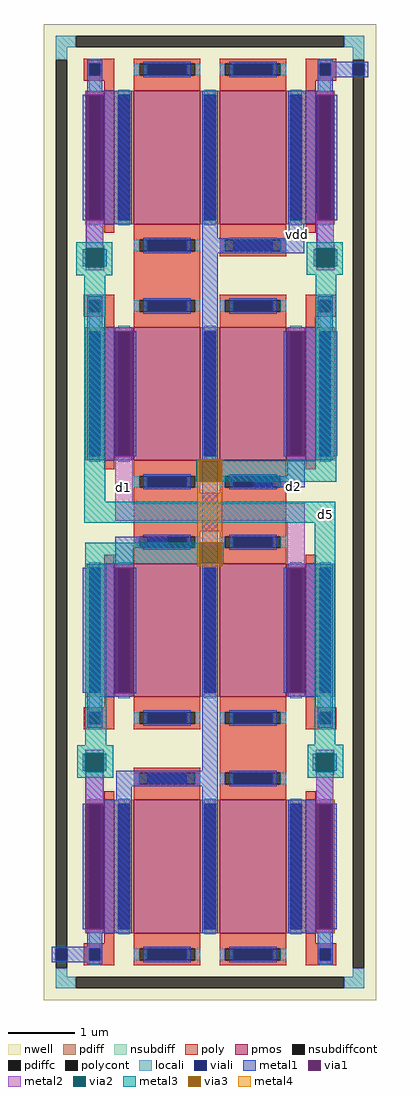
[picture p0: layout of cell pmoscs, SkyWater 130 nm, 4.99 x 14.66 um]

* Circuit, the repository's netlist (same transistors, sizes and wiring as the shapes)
** sch_path: /home/muhammadyavi/project/opamp/mag/pmoscs.sch
.subckt pmoscs VDD D2 D1 D5
*.PININFO VDD:B D5:B D2:B D1:B
XM2 D2 D2 VDD VDD sky130_fd_pr__pfet_01v8 L=1 W=2 nf=1 m=2
XM1 D1 D2 VDD VDD sky130_fd_pr__pfet_01v8 L=1 W=2 nf=1 m=2
XM5 D5 D2 VDD VDD sky130_fd_pr__pfet_01v8 L=1 W=2 nf=1 m=2
XM4 VDD VDD VDD VDD sky130_fd_pr__pfet_01v8 L=0.15 W=2 nf=1 m=2
XM7 D1 D1 D1 VDD sky130_fd_pr__pfet_01v8 L=0.15 W=2 nf=1 m=2
XM6 D2 D2 D2 VDD sky130_fd_pr__pfet_01v8 L=0.15 W=2 nf=1 m=2
XM8 D5 D5 D5 VDD sky130_fd_pr__pfet_01v8 L=0.15 W=2 nf=1 m=2
XM3 VDD VDD VDD VDD sky130_fd_pr__pfet_01v8 L=1 W=2 nf=1 m=2
.ends
.end

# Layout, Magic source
magic
tech sky130A
magscale 1 2
<< nwell >>
rect -176 -811 822 2121
<< nsubdiff >>
rect -140 2051 -80 2085
rect 726 2051 786 2085
rect -140 2013 -106 2051
rect 752 2013 786 2051
rect -140 -741 -106 -715
rect 752 -741 786 -715
rect -140 -775 -80 -741
rect 726 -775 786 -741
<< nsubdiffcont >>
rect -80 2051 726 2085
rect -140 -715 -106 2013
rect 752 -715 786 2013
rect -80 -775 726 -741
<< poly >>
rect -56 2001 36 2017
rect -56 1967 -40 2001
rect -6 1967 36 2001
rect -56 1951 36 1967
rect 6 1920 36 1951
rect 610 2001 702 2017
rect 610 1967 652 2001
rect 686 1967 702 2001
rect 610 1951 702 1967
rect 610 1920 640 1951
rect 94 1307 294 1423
rect -56 1291 36 1307
rect -56 1257 -40 1291
rect -6 1257 36 1291
rect -56 1241 36 1257
rect 6 1210 36 1241
rect 610 1291 702 1307
rect 610 1257 652 1291
rect 686 1257 702 1291
rect 610 1241 702 1257
rect 610 1210 640 1241
rect 94 597 552 713
rect 6 69 36 100
rect -56 53 36 69
rect -56 19 -40 53
rect -6 19 36 53
rect -56 3 36 19
rect 610 69 640 100
rect 610 53 702 69
rect 610 19 652 53
rect 686 19 702 53
rect 610 3 702 19
rect 352 -113 552 3
rect 6 -641 36 -610
rect -56 -657 36 -641
rect -56 -691 -40 -657
rect -6 -691 36 -657
rect -56 -707 36 -691
rect 610 -641 640 -614
rect 610 -657 702 -641
rect 610 -691 652 -657
rect 686 -691 702 -657
rect 610 -707 702 -691
<< polycont >>
rect -40 1967 -6 2001
rect 652 1967 686 2001
rect -40 1257 -6 1291
rect 652 1257 686 1291
rect -40 19 -6 53
rect 652 19 686 53
rect -40 -691 -6 -657
rect 652 -691 686 -657
<< locali >>
rect -140 2051 -80 2085
rect 726 2051 786 2085
rect -140 2013 -106 2051
rect -40 2001 -6 2017
rect -40 1920 -6 1967
rect 652 2001 686 2017
rect 652 1920 686 1967
rect 752 2013 786 2051
rect -40 1291 -6 1307
rect -40 1210 -6 1257
rect 652 1291 686 1307
rect 652 1210 686 1257
rect -40 53 -6 100
rect -40 3 -6 19
rect 652 53 686 100
rect 652 3 686 19
rect -40 -657 -6 -610
rect -40 -707 -6 -691
rect 652 -657 686 -610
rect 652 -707 686 -691
rect -140 -741 -106 -715
rect 752 -741 786 -715
rect -140 -775 -80 -741
rect 726 -775 786 -741
<< viali >>
rect -40 1967 -6 2001
rect 652 1967 686 2001
rect 752 1967 786 2001
rect -40 1257 -6 1291
rect 652 1257 686 1291
rect -40 19 -6 53
rect 652 19 686 53
rect -140 -691 -106 -657
rect -40 -691 -6 -657
rect 652 -691 686 -657
<< metal1 >>
rect -46 2001 0 2013
rect -46 1967 -40 2001
rect -6 1967 0 2001
rect -46 1920 0 1967
rect 646 2007 692 2013
rect 646 2001 798 2007
rect 646 1967 652 2001
rect 686 1967 752 2001
rect 786 1967 798 2001
rect 646 1961 798 1967
rect 646 1921 692 1961
rect 558 1920 692 1921
rect -46 1908 87 1920
rect -59 1532 -49 1908
rect 3 1532 87 1908
rect -49 1520 87 1532
rect -49 1445 3 1520
rect 299 1478 346 1920
rect 558 1908 691 1920
rect 558 1532 643 1908
rect 695 1532 705 1908
rect 558 1521 695 1532
rect 560 1478 606 1521
rect -59 1393 -49 1445
rect 3 1393 13 1445
rect 299 1432 606 1478
rect 645 1465 695 1521
rect 644 1445 696 1465
rect -46 1291 0 1303
rect -46 1257 -40 1291
rect -6 1257 0 1291
rect -46 1210 0 1257
rect -46 1198 87 1210
rect -46 822 39 1198
rect 91 822 101 1198
rect -46 810 87 822
rect 39 547 194 581
rect 39 500 92 547
rect -46 488 92 500
rect -59 487 92 488
rect -59 112 39 487
rect -46 111 39 112
rect 92 111 102 487
rect -46 100 87 111
rect -46 53 0 100
rect -46 19 -40 53
rect -6 19 0 53
rect -46 7 0 19
rect -60 -123 -50 -71
rect 2 -123 12 -71
rect 299 -122 346 1432
rect 634 1393 644 1445
rect 696 1393 706 1445
rect 646 1291 692 1303
rect 646 1257 652 1291
rect 686 1257 692 1291
rect 646 1210 692 1257
rect 559 1198 692 1210
rect 545 822 555 1198
rect 608 822 705 1198
rect 555 810 692 822
rect 555 763 608 810
rect 453 729 608 763
rect 559 488 692 500
rect 545 112 555 488
rect 607 112 692 488
rect 559 100 692 112
rect 646 53 692 100
rect 646 19 652 53
rect 686 19 692 53
rect 646 7 692 19
rect -50 -210 2 -123
rect 41 -169 346 -122
rect 632 -123 642 -71
rect 694 -123 704 -71
rect 41 -210 88 -169
rect -50 -222 88 -210
rect -60 -598 -50 -222
rect 2 -598 88 -222
rect -45 -610 88 -598
rect 299 -610 346 -169
rect 642 -210 694 -123
rect 558 -222 694 -210
rect 558 -598 642 -222
rect 694 -598 704 -222
rect 558 -610 692 -598
rect -46 -651 0 -610
rect -152 -657 0 -651
rect -152 -691 -140 -657
rect -106 -691 -40 -657
rect -6 -691 0 -657
rect -152 -697 0 -691
rect -46 -703 0 -697
rect 646 -657 692 -610
rect 646 -691 652 -657
rect 686 -691 692 -657
rect 646 -703 692 -691
<< via1 >>
rect -49 1532 3 1908
rect 643 1532 695 1908
rect -49 1393 3 1445
rect 39 822 91 1198
rect 39 111 92 487
rect -50 -123 2 -71
rect 644 1393 696 1445
rect 555 822 608 1198
rect 555 112 607 488
rect 642 -123 694 -71
rect -50 -598 2 -222
rect 642 -598 694 -222
<< metal2 >>
rect -49 1908 3 1918
rect -50 1532 -49 1533
rect 643 1908 695 1918
rect -50 1457 3 1532
rect 642 1532 643 1551
rect 642 1465 695 1532
rect 642 1457 696 1465
rect -51 1447 5 1457
rect -51 1381 5 1391
rect 642 1447 698 1457
rect 642 1381 698 1391
rect 39 1198 91 1208
rect 39 681 91 822
rect 555 1198 608 1208
rect 555 812 608 822
rect 39 629 607 681
rect 39 487 92 497
rect 39 101 92 111
rect 555 488 607 629
rect 555 102 607 112
rect -52 -69 4 -59
rect -52 -222 4 -125
rect 640 -69 696 -59
rect 640 -135 696 -125
rect -52 -226 -50 -222
rect 2 -226 4 -222
rect 642 -143 695 -135
rect 642 -222 694 -143
rect -50 -608 2 -598
rect 642 -608 694 -598
<< via2 >>
rect -51 1445 5 1447
rect -51 1393 -49 1445
rect -49 1393 3 1445
rect 3 1393 5 1445
rect -51 1391 5 1393
rect 642 1445 698 1447
rect 642 1393 644 1445
rect 644 1393 696 1445
rect 696 1393 698 1445
rect 642 1391 698 1393
rect -52 -71 4 -69
rect -52 -123 -50 -71
rect -50 -123 2 -71
rect 2 -123 4 -71
rect -52 -125 4 -123
rect 640 -71 696 -69
rect 640 -123 642 -71
rect 642 -123 694 -71
rect 694 -123 696 -71
rect 640 -125 696 -123
<< metal3 >>
rect -79 1447 29 1465
rect -79 1391 -51 1447
rect 5 1391 29 1447
rect -79 1366 29 1391
rect 614 1447 722 1465
rect 614 1391 642 1447
rect 698 1391 722 1447
rect 614 1367 722 1391
rect -55 686 8 1366
rect 281 746 291 810
rect 355 809 365 810
rect 640 809 703 1367
rect 355 746 703 809
rect -55 623 700 686
rect -52 500 291 563
rect -52 -45 11 500
rect 281 499 291 500
rect 355 499 365 563
rect 637 -44 700 623
rect -76 -69 32 -45
rect -76 -125 -52 -69
rect 4 -125 32 -69
rect -76 -143 32 -125
rect 616 -69 724 -44
rect 616 -125 640 -69
rect 696 -125 724 -69
rect 616 -143 724 -125
<< via3 >>
rect 291 746 355 810
rect 291 499 355 563
<< metal4 >>
rect 285 810 360 814
rect 285 746 291 810
rect 355 746 360 810
rect 285 563 360 746
rect 285 499 291 563
rect 355 499 360 563
rect 285 492 360 499
use sky130_fd_pr__pfet_01v8_2ZH9EN  sky130_fd_pr__pfet_01v8_2ZH9EN_0
transform 1 0 625 0 1 -410
box -109 -262 109 262
use sky130_fd_pr__pfet_01v8_2ZH9EN  sky130_fd_pr__pfet_01v8_2ZH9EN_1
transform 1 0 21 0 1 1010
box -109 -262 109 262
use sky130_fd_pr__pfet_01v8_2ZH9EN  sky130_fd_pr__pfet_01v8_2ZH9EN_2
transform 1 0 21 0 1 -410
box -109 -262 109 262
use sky130_fd_pr__pfet_01v8_2ZH9EN  sky130_fd_pr__pfet_01v8_2ZH9EN_3
transform 1 0 21 0 1 300
box -109 -262 109 262
use sky130_fd_pr__pfet_01v8_2ZH9EN  sky130_fd_pr__pfet_01v8_2ZH9EN_4
transform 1 0 625 0 1 300
box -109 -262 109 262
use sky130_fd_pr__pfet_01v8_2ZH9EN  sky130_fd_pr__pfet_01v8_2ZH9EN_5
transform 1 0 625 0 1 1010
box -109 -262 109 262
use sky130_fd_pr__pfet_01v8_2ZH9EN  sky130_fd_pr__pfet_01v8_2ZH9EN_6
transform 1 0 21 0 1 1720
box -109 -262 109 262
use sky130_fd_pr__pfet_01v8_2ZH9EN  sky130_fd_pr__pfet_01v8_2ZH9EN_7
transform 1 0 625 0 1 1720
box -109 -262 109 262
use sky130_fd_pr__pfet_01v8_SDE6B7  sky130_fd_pr__pfet_01v8_SDE6B7_0
transform 1 0 323 0 1 1720
box -323 -300 323 300
use sky130_fd_pr__pfet_01v8_SDE6B7  sky130_fd_pr__pfet_01v8_SDE6B7_1
transform 1 0 323 0 1 1010
box -323 -300 323 300
use sky130_fd_pr__pfet_01v8_SDE6B7  sky130_fd_pr__pfet_01v8_SDE6B7_2
transform 1 0 323 0 1 300
box -323 -300 323 300
use sky130_fd_pr__pfet_01v8_SDE6B7  sky130_fd_pr__pfet_01v8_SDE6B7_3
transform 1 0 323 0 1 -410
box -323 -300 323 300
<< labels >>
flabel metal3 669 647 669 647 0 FreeSans 480 0 0 0 d5
port 0 nsew
flabel metal2 64 730 64 730 0 FreeSans 480 0 0 0 d1
port 1 nsew
flabel metal1 575 733 575 733 0 FreeSans 480 0 0 0 d2
port 2 nsew
flabel metal1 585 1490 585 1490 0 FreeSans 480 0 0 0 vdd
port 3 nsew
<< end >>

# cell sky130_fd_pr__pfet_01v8_2ZH9EN: kit device sky130_fd_pr__pfet_01v8, w 2 l 0.15 m 1 nf 1 diffcov 100 polycov 100 guard 0 glc 1 grc 1 gtc 1 gbc 1 tbcov 100 rlcov 100 topc 0 botc 0 poverlap 0 doverlap 1 lmin 0.15 wmin 0.42 compatible {sky130_fd_pr__pfet_01v8 sky130_fd_pr__pfet_01v8_lvt sky130_fd_pr__pfet_01v8_hvt sky130_fd_pr__pfet_g5v0d10v5} full_metal 0 viasrc 100 viadrn 100 viagate 100 viagb 0 viagr 0 viagl 0 viagt 0

# cell sky130_fd_pr__pfet_01v8_SDE6B7: kit device sky130_fd_pr__pfet_01v8, w 2 l 1 m 1 nf 2 diffcov 100 polycov 100 guard 0 glc 1 grc 1 gtc 1 gbc 1 tbcov 100 rlcov 100 topc 1 botc 1 poverlap 0 doverlap 1 lmin 0.15 wmin 0.42 compatible {sky130_fd_pr__pfet_01v8 sky130_fd_pr__pfet_01v8_lvt sky130_fd_pr__pfet_01v8_hvt sky130_fd_pr__pfet_g5v0d10v5} full_metal 1 viasrc 100 viadrn 100 viagate 70 viagb 0 viagr 0 viagl 0 viagt 0
